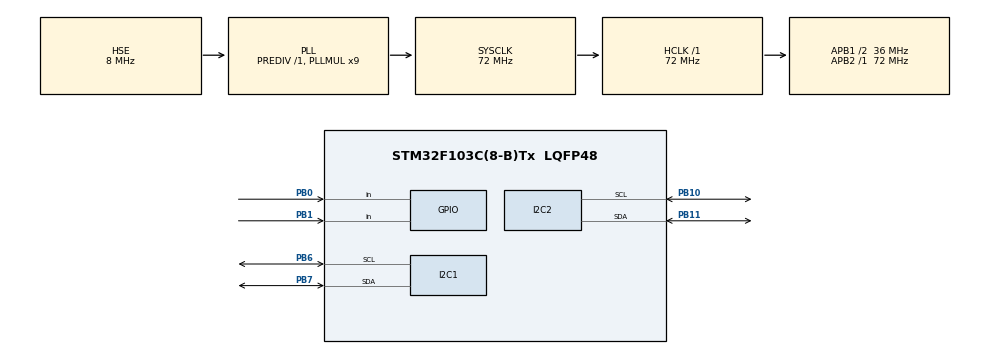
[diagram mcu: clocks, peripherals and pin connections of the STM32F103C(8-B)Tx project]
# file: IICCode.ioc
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Mcu.Family=STM32F1
Mcu.Name=STM32F103C(8-B)Tx
Mcu.Package=LQFP48
NVIC.PriorityGroup=NVIC_PRIORITYGROUP_4
PA13.Mode=Serial_Wire
PA13.Signal=SYS_JTMS-SWDIO
PA14.Mode=Serial_Wire
PA14.Signal=SYS_JTCK-SWCLK
PB0.GPIO_PuPd=GPIO_NOPULL
PB0.Signal=GPIO_Input
PB1.Signal=GPIO_Input
PB10.Mode=I2C
PB10.Signal=I2C2_SCL
PB11.Mode=I2C
PB11.Signal=I2C2_SDA
PB6.Mode=I2C
PB6.Signal=I2C1_SCL
PB7.Mode=I2C
PB7.Signal=I2C1_SDA
PD0-OSC_IN.Mode=HSE-External-Oscillator
PD0-OSC_IN.Signal=RCC_OSC_IN
PD1-OSC_OUT.Mode=HSE-External-Oscillator
PD1-OSC_OUT.Signal=RCC_OSC_OUT
ProjectManager.HeapSize=0x200
ProjectManager.StackSize=0x400
ProjectManager.TargetToolchain=MDK-ARM V5.27
RCC.AHBFreq_Value=72000000
RCC.APB1CLKDivider=RCC_HCLK_DIV2
RCC.APB1Freq_Value=36000000
RCC.APB1TimFreq_Value=72000000
RCC.APB2Freq_Value=72000000
RCC.APB2TimFreq_Value=72000000
RCC.HCLKFreq_Value=72000000
RCC.PLLMUL=RCC_PLL_MUL9
RCC.PLLSourceVirtual=RCC_PLLSOURCE_HSE
RCC.SYSCLKFreq_VALUE=72000000
RCC.SYSCLKSource=RCC_SYSCLKSOURCE_PLLCLK
RCC.USBFreq_Value=72000000
board=custom

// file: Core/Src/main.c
/* USER CODE BEGIN Header */
/**
  ******************************************************************************
  * @file           : main.c
  * @brief          : Main program body
  ******************************************************************************
  * @attention
  *
  * <h2><center>&copy; Copyright (c) 2023 STMicroelectronics.
  * All rights reserved.</center></h2>
  *
  * This software component is licensed by ST under BSD 3-Clause license,
  * the "License"; You may not use this file except in compliance with the
  * License. You may obtain a copy of the License at:
  *                        opensource.org/licenses/BSD-3-Clause
  *
  ******************************************************************************
  */
/* USER CODE END Header */
#include "main.h"

/* USER CODE BEGIN Includes */

#include "oled.h"
#include "bmp.h"
/* USER CODE END Includes */

I2C_HandleTypeDef hi2c1;
I2C_HandleTypeDef hi2c2;

void SystemClock_Config(void);
static void MX_GPIO_Init(void);
static void MX_I2C1_Init(void);
static void MX_I2C2_Init(void);

int main(void)
{

  /* MCU Configuration--------------------------------------------------------*/

  /* Reset of all peripherals, Initializes the Flash interface and the Systick. */
  HAL_Init();

  /* Configure the system clock */
  SystemClock_Config();

  /* Initialize all configured peripherals */
  MX_GPIO_Init();
  MX_I2C1_Init();
  MX_I2C2_Init();
  /* USER CODE BEGIN 2 */
    OLED_Init();			//初始化OLED
    OLED_Clear()  	;
    unsigned char t;
    t=' ';
    OLED_ShowString(0,6,"Code",16);

  /* USER CODE END 2 */

  /* Infinite loop */
  /* USER CODE BEGIN WHILE */
  while (1)
  {

    OLED_Clear();
    OLED_ShowCHinese(0,0,0);//中
    OLED_ShowCHinese(54,0,3);//电
    OLED_ShowCHinese(72,0,4);//子
    OLED_ShowCHinese(90,0,5);//科
    OLED_ShowCHinese(108,0,6);//技
    OLED_ShowString(6,3,"0.96' OLED TEST",16);
    OLED_ShowString(0,6,"ASCII:",16);
    OLED_ShowString(63,6,"CODE:",16);
    OLED_ShowChar(48,6,t,16);//显示ASCII字符
    t++;
    if(t>'~')t=' ';
    OLED_ShowNum(103,6,t,3,16);//显示ASCII字符的码值
    HAL_Delay(3000);
    OLED_DrawBMP(0,0,128,8,BMP1);  //图片显示(图片显示慎用，生成的字表较大，会占用较多空间，FLASH空间8K以下慎用)
    HAL_Delay(3000);
    /* USER CODE END WHILE */

  }
}

void SystemClock_Config(void)
{
  RCC_OscInitTypeDef RCC_OscInitStruct = {0};
  RCC_ClkInitTypeDef RCC_ClkInitStruct = {0};

  /** Initializes the RCC Oscillators according to the specified parameters
  * in the RCC_OscInitTypeDef structure.
  */
  RCC_OscInitStruct.OscillatorType = RCC_OSCILLATORTYPE_HSE;
  RCC_OscInitStruct.HSEState = RCC_HSE_ON;
  RCC_OscInitStruct.HSEPredivValue = RCC_HSE_PREDIV_DIV1;
  RCC_OscInitStruct.HSIState = RCC_HSI_ON;
  RCC_OscInitStruct.PLL.PLLState = RCC_PLL_ON;
  RCC_OscInitStruct.PLL.PLLSource = RCC_PLLSOURCE_HSE;
  RCC_OscInitStruct.PLL.PLLMUL = RCC_PLL_MUL9;
  if (HAL_RCC_OscConfig(&RCC_OscInitStruct) != HAL_OK)
  {
    Error_Handler();
  }
  /** Initializes the CPU, AHB and APB buses clocks
  */
  RCC_ClkInitStruct.ClockType = RCC_CLOCKTYPE_HCLK|RCC_CLOCKTYPE_SYSCLK
                              |RCC_CLOCKTYPE_PCLK1|RCC_CLOCKTYPE_PCLK2;
  RCC_ClkInitStruct.SYSCLKSource = RCC_SYSCLKSOURCE_PLLCLK;
  RCC_ClkInitStruct.AHBCLKDivider = RCC_SYSCLK_DIV1;
  RCC_ClkInitStruct.APB1CLKDivider = RCC_HCLK_DIV2;
  RCC_ClkInitStruct.APB2CLKDivider = RCC_HCLK_DIV1;

  if (HAL_RCC_ClockConfig(&RCC_ClkInitStruct, FLASH_LATENCY_2) != HAL_OK)
  {
    Error_Handler();
  }
}

static void MX_I2C1_Init(void)
{

  hi2c1.Instance = I2C1;
  hi2c1.Init.ClockSpeed = 100000;
  hi2c1.Init.DutyCycle = I2C_DUTYCYCLE_2;
  hi2c1.Init.OwnAddress1 = 0;
  hi2c1.Init.AddressingMode = I2C_ADDRESSINGMODE_7BIT;
  hi2c1.Init.DualAddressMode = I2C_DUALADDRESS_DISABLE;
  hi2c1.Init.OwnAddress2 = 0;
  hi2c1.Init.GeneralCallMode = I2C_GENERALCALL_DISABLE;
  hi2c1.Init.NoStretchMode = I2C_NOSTRETCH_DISABLE;
  if (HAL_I2C_Init(&hi2c1) != HAL_OK)
  {
    Error_Handler();
  }

}

static void MX_I2C2_Init(void)
{

  hi2c2.Instance = I2C2;
  hi2c2.Init.ClockSpeed = 100000;
  hi2c2.Init.DutyCycle = I2C_DUTYCYCLE_2;
  hi2c2.Init.OwnAddress1 = 0;
  hi2c2.Init.AddressingMode = I2C_ADDRESSINGMODE_7BIT;
  hi2c2.Init.DualAddressMode = I2C_DUALADDRESS_DISABLE;
  hi2c2.Init.OwnAddress2 = 0;
  hi2c2.Init.GeneralCallMode = I2C_GENERALCALL_DISABLE;
  hi2c2.Init.NoStretchMode = I2C_NOSTRETCH_DISABLE;
  if (HAL_I2C_Init(&hi2c2) != HAL_OK)
  {
    Error_Handler();
  }

}

static void MX_GPIO_Init(void)
{
  GPIO_InitTypeDef GPIO_InitStruct = {0};

  /* GPIO Ports Clock Enable */
  __HAL_RCC_GPIOD_CLK_ENABLE();
  __HAL_RCC_GPIOB_CLK_ENABLE();
  __HAL_RCC_GPIOA_CLK_ENABLE();

  /*Configure GPIO pins : PB0 PB1 */
  GPIO_InitStruct.Pin = GPIO_PIN_0|GPIO_PIN_1;
  GPIO_InitStruct.Mode = GPIO_MODE_INPUT;
  GPIO_InitStruct.Pull = GPIO_PULLUP;
  HAL_GPIO_Init(GPIOB, &GPIO_InitStruct);

}

void Error_Handler(void)
{
  __disable_irq();
  while (1)
  {
  }
}

/************************ (C) COPYRIGHT STMicroelectronics *****END OF FILE****/
